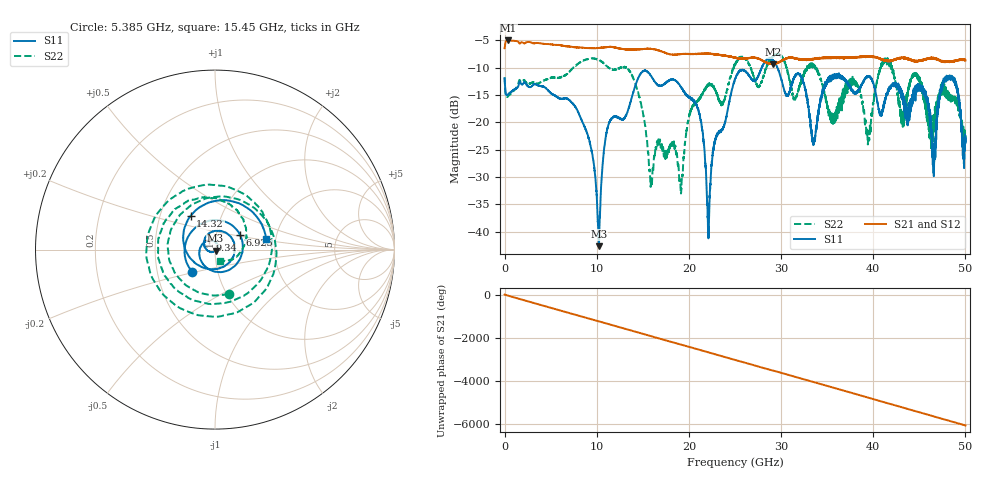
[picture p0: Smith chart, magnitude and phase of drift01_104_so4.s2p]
!Created with skrf (http://scikit-rf.org).
# Hz S RI R 50.0
!freq ReS11 ImS11 ReS21 ImS21 ReS12 ImS12 ReS22 ImS22
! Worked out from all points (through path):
!   10001 points, 300 kHz to 50 GHz, reference 50 ohm
!   highest |S21| = -5.05 dB at 395.3 MHz (marker M1); lowest = -9.4 dB at 29.12 GHz (marker M2)
!   group delay of S21, straight-line fit = 336 ps
!   lowest |S11| = -42.7 dB at 10.23 GHz (marker M3), VSWR 1.01, Z = 50.3 - j0.652 ohm
!   |S11| at or under -10 dB: start of sweep to 27.9 GHz; 29.6 GHz to end of sweep
!   |S22| runs from -33.0 to -7.5 dB; largest |S21 - S12| = 0.014
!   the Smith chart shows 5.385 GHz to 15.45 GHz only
!   S11 on the Smith chart (normalised r, x): 5.385 GHz: 0.75, -0.19; 6.925 GHz: 1.31, +0.22; 9.34 GHz: 0.93, +0.10; 14.32 GHz: 0.71, +0.28; 15.45 GHz: 1.78, +0.23
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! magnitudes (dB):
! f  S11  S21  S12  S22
! 300 kHz  -12.0  -6.5  -6.6  -11.8
! 395.3 MHz  -14.9  -5.1  -5.1  -15.2
! 5.385 GHz  -15.0  -5.8  -5.9  -11.8
! 6.925 GHz  -15.8  -6.1  -6.1  -11.0
! 8.335 GHz  -19.5  -6.4  -6.4  -8.9
! 9.34 GHz  -24.3  -6.4  -6.4  -8.4
! 10.23 GHz  -42.7  -6.4  -6.4  -8.6
! 11.23 GHz  -20.7  -6.3  -6.3  -9.9
! 14.32 GHz  -12.7  -6.7  -6.7  -13.6
! 15.45 GHz  -10.7  -6.6  -6.6  -23.2
! 16.67 GHz  -13.2  -6.9  -6.9  -23.3
! 19.14 GHz  -13.6  -7.5  -7.6  -32.8
! 20.85 GHz  -16.9  -7.6  -7.5  -16.2
! 22.13 GHz  -40.3  -7.5  -7.5  -13.3
! 25 GHz  -12.1  -8.2  -8.2  -9.4
! 29.12 GHz  -8.7  -9.4  -9.4  -7.9
! 33.34 GHz  -22.6  -8.5  -8.4  -9.5
! 39.47 GHz  -11.6  -8.0  -8.0  -22.0
! 41.67 GHz  -13.8  -8.8  -8.7  -8.8
! 46.56 GHz  -27.0  -8.3  -8.3  -20.6
! 48.55 GHz  -11.8  -8.9  -8.9  -15.5
! 50 GHz  -23.5  -8.7  -8.7  -23.4
